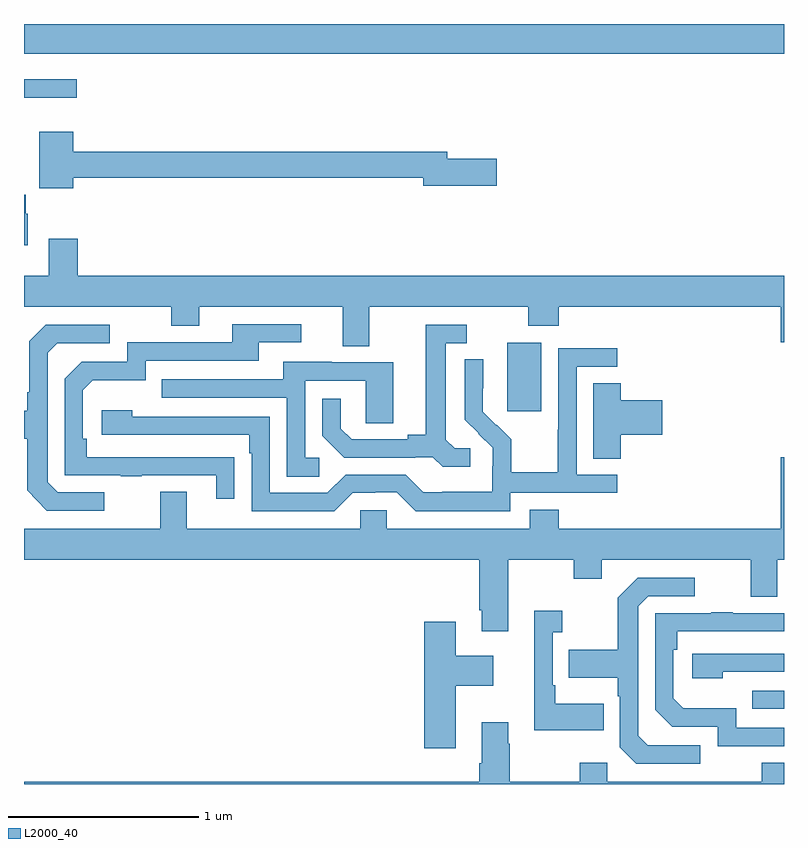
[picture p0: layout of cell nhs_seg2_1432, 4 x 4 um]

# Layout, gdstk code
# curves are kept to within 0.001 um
import gdstk
lib = gdstk.Library(unit=1e-6, precision=1e-09)
def R(c, l, rs):  # rectangles x0, y0, x1, y1
    for r in rs: c.add(gdstk.rectangle(r[:2], r[2:], *l))
def P(c, l, *ps):  # polygons
    for p in ps: c.add(gdstk.Polygon(p, *l))
L2000_40 = (2000, 40)

nhs_seg2_1432 = lib.new_cell('nhs_seg2_1432')
R(nhs_seg2_1432, L2000_40, [(188.833,636.195,189,636.291), (187.544,637.761,187.723,638.122), (185,639.411,185.278,639.508), (185,639.644,189,639.8)])
P(nhs_seg2_1432, L2000_40, [(185.26,638.992),(187.1,638.992),(187.1,638.95),(187.489,638.95),(187.489,639.092),(187.228,639.092),(187.228,639.128),(185.26,639.128),(185.26,639.232),(185.081,639.232),(185.081,638.936),(185.26,638.936)],
  [(185.02,638.802),(185.008,638.802),(185.008,638.902),(185,638.902),(185,638.636),(185.02,638.636)],
  [(185.282,638.671),(185.129,638.671),(185.129,638.476),(185,638.476),(185,638.312),(185.776,638.312),(185.776,638.213),(185.923,638.213),(185.923,638.312),(186.677,638.312),(186.677,638.104),(186.817,638.104),(186.817,638.312),(187.654,638.312),(187.654,638.213),(187.814,638.213),(187.814,638.312),(188.984,638.312),(188.984,638.124),(189,638.124),(189,638.476),(185.282,638.476)],
  [(186.107,637.52),(185.33,637.521),(185.33,637.618),(185.31,637.618),(185.31,637.872),(185.363,637.925),(185.64,637.925),(185.64,638.028),(186.235,638.028),(186.235,638.124),(186.46,638.124),(186.46,638.22),(186.095,638.22),(186.095,638.124),(185.544,638.124),(185.544,638.022),(185.304,638.022),(185.214,637.932),(185.214,637.425),(185.509,637.425),(185.509,637.42),(185.621,637.42),(185.621,637.425),(186.011,637.425),(186.011,637.302),(186.107,637.302)],
  [(187.348,637.566),(187.266,637.566),(187.219,637.613),(187.219,638.121),(187.33,638.121),(187.33,638.217),(187.115,638.217),(187.115,637.637),(187.019,637.637),(187.019,637.614),(186.724,637.614),(186.667,637.671),(186.667,637.828),(186.57,637.828),(186.57,637.634),(186.686,637.518),(187.058,637.518),(187.058,637.521),(187.152,637.521),(187.204,637.469),(187.348,637.469)],
  [(185.422,637.335),(185.178,637.335),(185.124,637.389),(185.124,638.07),(185.175,638.121),(185.452,638.121),(185.452,638.217),(185.115,638.217),(185.028,638.13),(185.028,637.861),(185.016,637.861),(185.016,637.765),(185,637.765),(185,637.618),(185.016,637.618),(185.016,637.345),(185.121,637.239),(185.422,637.239)],
  [(187.56,637.332),(188.122,637.332),(188.122,637.428),(187.908,637.428),(187.908,637.995),(188.122,637.995),(188.122,638.094),(187.812,638.094),(187.812,637.664),(187.81,637.664),(187.81,637.441),(187.565,637.441),(187.565,637.615),(187.488,637.692),(187.485,637.689),(187.415,637.76),(187.416,638.036),(187.32,638.036),(187.32,637.718),(187.466,637.57),(187.466,637.473),(187.464,637.473),(187.464,637.339),(187.201,637.339),(187.201,637.335),(187.101,637.335),(187.008,637.428),(186.693,637.428),(186.597,637.332),(186.294,637.332),(186.294,637.734),(185.57,637.734),(185.57,637.768),(185.409,637.768),(185.409,637.638),(186.185,637.638),(186.185,637.541),(186.198,637.541),(186.198,637.236),(186.633,637.236),(186.729,637.332),(186.848,637.332),(186.848,637.335),(186.963,637.335),(187.063,637.235),(187.56,637.235)],
  [(186.553,637.518),(186.48,637.518),(186.48,637.923),(186.798,637.923),(186.798,637.699),(186.943,637.699),(186.943,638.019),(186.619,638.019),(186.619,638.023),(186.365,638.023),(186.365,637.929),(185.725,637.929),(185.725,637.833),(186.384,637.833),(186.384,637.417),(186.553,637.417)],
  [(188.141,637.637),(188.359,637.637),(188.359,637.82),(188.141,637.82),(188.141,637.91),(187.997,637.91),(187.997,637.513),(188.141,637.513)],
  [(187.549,636.98),(187.894,636.98),(187.894,636.881),(188.041,636.881),(188.041,636.98),(188.825,636.98),(188.825,636.786),(188.965,636.786),(188.965,636.98),(189,636.98),(189,637.519),(188.984,637.519),(188.984,637.144),(187.814,637.144),(187.814,637.243),(187.661,637.243),(187.661,637.144),(186.909,637.144),(186.909,637.242),(186.771,637.242),(186.771,637.144),(185.857,637.144),(185.857,637.339),(185.717,637.339),(185.717,637.144),(185,637.144),(185,636.98),(187.397,636.98),(187.397,636.715),(187.409,636.715),(187.409,636.603),(187.549,636.603)],
  [(188.56,636.003),(188.283,636.003),(188.232,636.054),(188.232,636.735),(188.286,636.789),(188.53,636.789),(188.53,636.885),(188.229,636.885),(188.124,636.779),(188.124,636.507),(187.867,636.507),(187.867,636.359),(188.124,636.359),(188.124,636.263),(188.136,636.263),(188.136,635.994),(188.223,635.907),(188.56,635.907)],
  [(188.051,636.223),(187.795,636.223),(187.795,636.319),(187.782,636.319),(187.782,636.599),(187.834,636.599),(187.834,636.712),(187.685,636.712),(187.685,636.083),(188.051,636.083)],
  [(189,636.096),(188.748,636.096),(188.748,636.199),(188.471,636.199),(188.418,636.252),(188.418,636.506),(188.438,636.506),(188.438,636.603),(189,636.603),(189,636.699),(188.729,636.699),(188.729,636.704),(188.617,636.704),(188.617,636.699),(188.322,636.699),(188.322,636.192),(188.412,636.102),(188.652,636.102),(188.652,636),(189,636)],
  [(187.273,636.317),(187.471,636.317),(187.471,636.475),(187.273,636.475),(187.273,636.655),(187.106,636.655),(187.106,635.988),(187.273,635.988)],
  [(188.678,636.39),(189,636.39),(189,636.486),(188.517,636.486),(188.517,636.356),(188.678,636.356)],
  [(189,635.911),(188.884,635.911),(188.884,635.812),(188.07,635.812),(188.07,635.911),(187.924,635.911),(187.924,635.812),(187.557,635.812),(187.557,636.011),(187.549,636.011),(187.549,636.124),(187.409,636.124),(187.409,635.908),(187.397,635.908),(187.397,635.812),(185,635.812),(185,635.8),(189,635.8)])

lib.write_gds('nhs_seg2_1432.gds')
